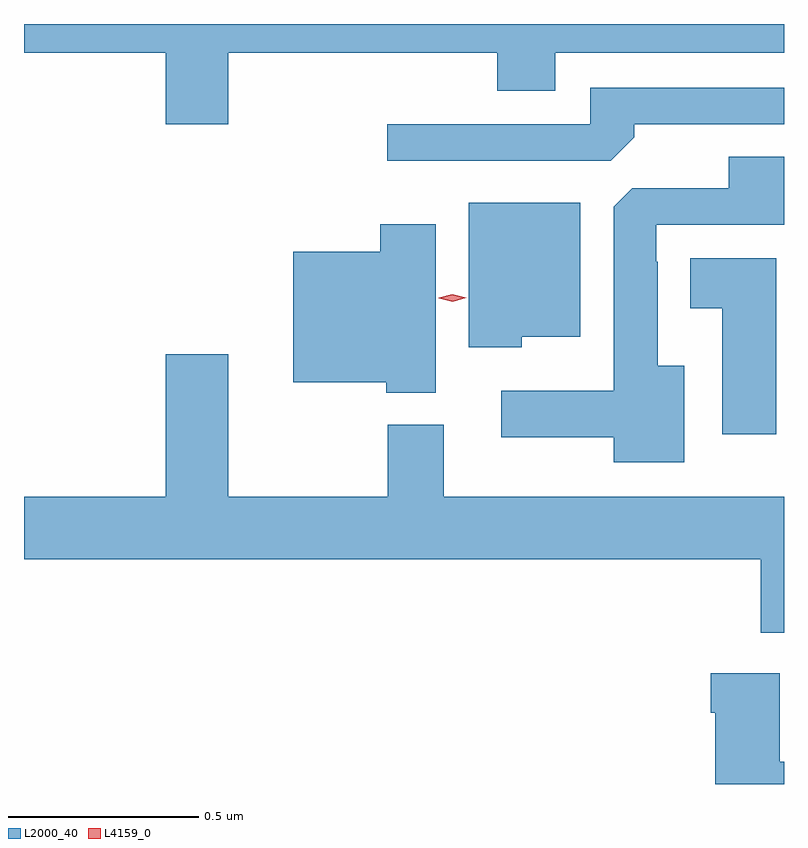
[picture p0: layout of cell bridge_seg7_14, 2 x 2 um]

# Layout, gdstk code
import gdstk
lib = gdstk.Library(unit=1e-6, precision=1e-09)
def P(c, l, *ps):  # polygons
    for p in ps: c.add(gdstk.Polygon(p, *l))
L2000_40 = (2000, 40)
L4159_0 = (4159, 0)

bridge_seg7_14 = lib.new_cell('bridge_seg7_14')
P(bridge_seg7_14, L2000_40, [(1100.236,1048.568),(1100.945,1048.568),(1100.945,1048.469),(1101.097,1048.469),(1101.097,1048.568),(1101.699,1048.568),(1101.699,1048.644),(1099.699,1048.644),(1099.699,1048.568),(1100.072,1048.568),(1100.072,1048.38),(1100.236,1048.38)],
  [(1101.305,1048.346),(1101.305,1048.38),(1101.699,1048.38),(1101.699,1048.476),(1101.189,1048.476),(1101.189,1048.38),(1100.655,1048.38),(1100.655,1048.284),(1101.243,1048.284)],
  [(1101.436,1047.745),(1101.367,1047.745),(1101.367,1048.019),(1101.363,1048.019),(1101.363,1048.116),(1101.699,1048.116),(1101.699,1048.295),(1101.554,1048.295),(1101.554,1048.212),(1101.3,1048.212),(1101.251,1048.163),(1101.251,1047.679),(1100.955,1047.679),(1100.955,1047.557),(1101.251,1047.557),(1101.251,1047.491),(1101.436,1047.491)],
  [(1101.009,1047.821),(1101.163,1047.821),(1101.163,1048.174),(1100.87,1048.174),(1100.87,1047.794),(1101.009,1047.794)],
  [(1100.782,1048.117),(1100.636,1048.117),(1100.636,1048.045),(1100.408,1048.045),(1100.408,1047.701),(1100.652,1047.701),(1100.652,1047.674),(1100.782,1047.674)],
  [(1101.679,1048.027),(1101.452,1048.027),(1101.452,1047.896),(1101.536,1047.896),(1101.536,1047.564),(1101.679,1047.564)],
  [(1101.699,1047.4),(1100.803,1047.4),(1100.803,1047.589),(1100.656,1047.589),(1100.656,1047.4),(1100.236,1047.4),(1100.236,1047.775),(1100.072,1047.775),(1100.072,1047.4),(1099.699,1047.4),(1099.699,1047.236),(1101.638,1047.236),(1101.638,1047.042),(1101.699,1047.042)],
  [(1101.699,1046.703),(1101.688,1046.703),(1101.688,1046.935),(1101.506,1046.935),(1101.506,1046.831),(1101.518,1046.831),(1101.518,1046.644),(1101.699,1046.644)])
P(bridge_seg7_14, L4159_0, [(1100.827,1047.913),(1100.79,1047.922),(1100.79,1047.923),(1100.79,1047.923),(1100.826,1047.933),(1100.863,1047.924),(1100.863,1047.924),(1100.863,1047.924)])

lib.write_gds('bridge_seg7_14.gds')
